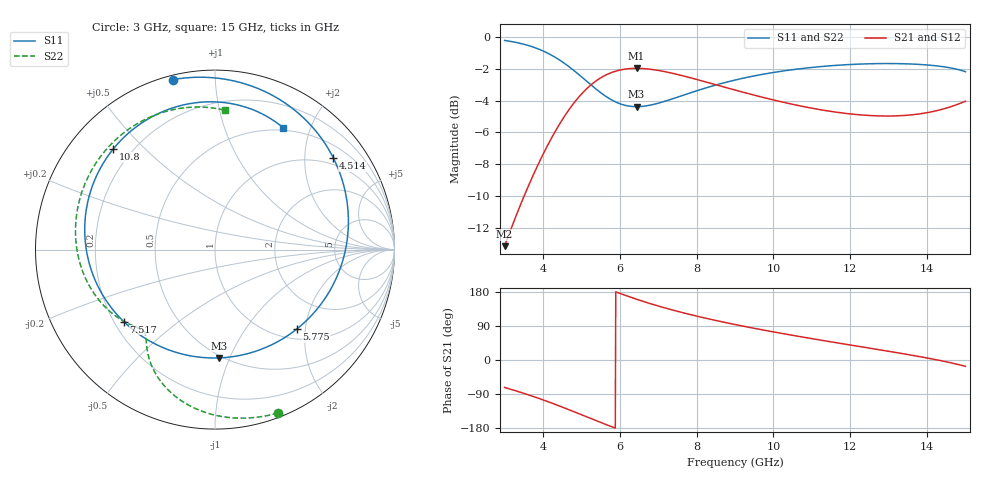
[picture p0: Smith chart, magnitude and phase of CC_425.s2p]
! Touchstone file exported from HFSS 2021.2.0
!  File:  D:/HFSS_Sims/GigaAmp_v2.aedt
!  Generated:  11:58:58 AM  Sep 13, 2023
!  Design:  GigaV2_04_minBW_CC_ind2
!  Project:  GigaAmp_v2
!  Setup:  BroadBand
!  Solution:  Sweep
! Variables:
!  I1_gap_2 = 15um
!  I1_width = 20um
!  I1_width_2 = 0.02mm
!  Inv_gap_factor = 1
!  Node2_to_3 = 0.85mm
!  R2_dup = 1
!  R2_offset = 100um
!  R2_stretch_y = 250um
!  R4_dup = 1
!  R4_offset = 100um
!  R4_stretch_x = 1010um
!  R4_stretch_y = 250um
!  cap2_cutout_x = -0.653mm
!  cap2_cutout_y = 0.615mm
!  cap2_finger_length = 450um
!  cap_cutout_gap = 100um
!  cap_cutout_x = -0.42mm
!  cap_cutout_y = 0.615mm
!  cap_finger_gap = 5um
!  cap_finger_length = 220um
!  cap_finger_sep = 0.05mm
!  cap_finger_width = 30um
!  cap_spine_length = 0.2075mm
!  cap_start_length = 0um
!  core_ind_sim_length = 400um
!  core_ind_sim_width = 100um
!  cpw50_gap = 20um
!  cpw50_miter_rad = 40um
!  cpw50_width = 0.1mm
!  cpw_width = 3um
!  extra_cutout_x = 400um
!  extra_cutout_x2 = 0um
!  junction_gap = 0.085mm
!  junction_size = 0.015mm
!  loop_length = 100um
!  loop_slope_length = 0.0075mm
!  loop_slope_width = 0.05mm
!  loop_spacing = 0.1mm
!  loop_trace_width = 15um
!  loop_width = 50um
!  num_fingers = 6
!  num_loops = 4
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# GHz S MA
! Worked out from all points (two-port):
!   1000 points, 3 GHz to 15 GHz, reference per port
!   highest |S21| = -1.97 dB at 6.435 GHz (marker M1); lowest = -13.2 dB at 3 GHz (marker M2)
!   |S21| within 3 dB of the highest: 4.564 GHz to 12.85 GHz (8.288 GHz wide, 95.2 % of centre); 13.07 GHz to end of sweep
!   lowest |S11| = -4.4 dB at 6.435 GHz (marker M3), VSWR 4.05
!   |S11| at or under -10 dB: nowhere
!   |S22| runs from -4.4 to -0.2 dB; largest |S21 - S12| = 3e-14
!   S11 on the Smith chart (normalised r, x): 3 GHz: 0.02, +0.78; 4.514 GHz: 0.81, +2.71; 5.775 GHz: 1.21, -1.80; 7.517 GHz: 0.24, -0.33; 10.8 GHz: 0.13, +0.41; 15 GHz: 0.46, +1.60
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3  0.9756 104.0  0.2197 -72.5  0.2197 -72.5  0.9756 -68.9
! Gamma -0 154.100102711162 0 0
! Port Impedance 45.0358551202894 0 50 0
3.42042  0.9546 88.8  0.2979 -85.4  0.2979 -85.4  0.9546 -79.5
3.792793  0.9256 73.5  0.3785 -97.8  0.3785 -97.8  0.9256 -89.1
4.153153  0.8857 56.7  0.4642 -110.8  0.4642 -110.8  0.8857 -98.3
4.513514  0.8337 37.7  0.5523 -124.7  0.5523 -124.7  0.8337 -107.1
4.765766  0.7914 23.0  0.6113 -134.8  0.6113 -134.8  0.7914 -112.7
5.006006  0.749 8.1  0.6626 -144.6  0.6626 -144.6  0.749 -117.4
5.366366  0.6882 -15.8  0.7255 -159.4  0.7255 -159.4  0.6882 -123.0
5.774775  0.6352 -44.1  0.7723 -175.6  0.7723 -175.6  0.6352 -127.1
6.099099  0.6114 -66.3  0.7913 172.2  0.7913 172.2  0.6114 -129.3
6.435435  0.6038 -87.8  0.7971 160.4  0.7971 160.4  0.6038 -131.4
7  0.6191 -118.9  0.7853 142.5  0.7853 142.5  0.6191 -136.1
7.516517  0.6477 -141.8  0.7617 128.0  0.7617 128.0  0.6479 -142.2
8.213213  0.69 -166.1  0.7237 110.8  0.7237 110.8  0.6901 -152.3
9.006006  0.7325 172.2  0.6807 93.5  0.6807 93.5  0.7325 -165.2
9.834835  0.7677 153.7  0.641 77.2  0.641 77.2  0.7675 -179.2
10.7958  0.7974 135.2  0.6038 59.9  0.6038 59.9  0.7971 164.6
11  0.8023 131.6  0.5973 56.4  0.5973 56.4  0.802 161.2
11.997  0.8195 114.7  0.573 39.7  0.573 39.7  0.8195 144.6
13.00601  0.8254 98.5  0.5642 22.9  0.5642 22.9  0.8256 127.3
14.12312  0.8145 79.9  0.5818 3.0  0.5818 3.0  0.8134 106.2
15  0.7782 60.9  0.628 -16.6  0.628 -16.6  0.7782 85.8
